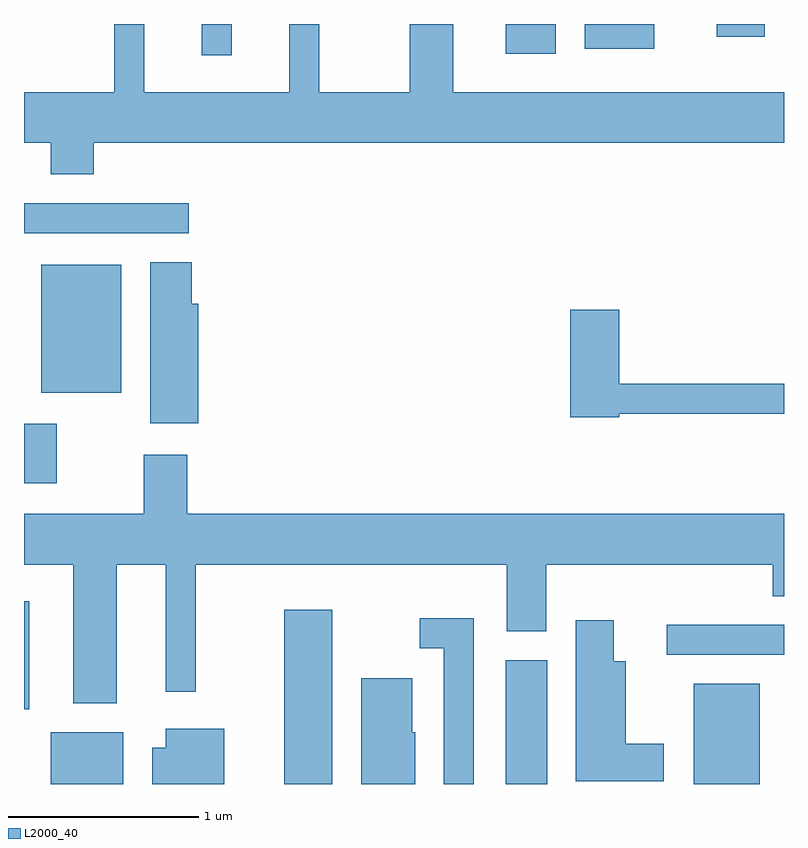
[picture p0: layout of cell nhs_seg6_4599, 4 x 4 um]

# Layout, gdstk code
import gdstk
lib = gdstk.Library(unit=1e-6, precision=1e-09)
def R(c, l, rs):  # rectangles x0, y0, x1, y1
    for r in rs: c.add(gdstk.rectangle(r[:2], r[2:], *l))
def P(c, l, *ps):  # polygons
    for p in ps: c.add(gdstk.Polygon(p, *l))
L2000_40 = (2000, 40)

nhs_seg6_4599 = lib.new_cell('nhs_seg6_4599')
R(nhs_seg6_4599, L2000_40, [(325.751,1602.162,326.134,1602.434), (326.981,1602.162,327.234,1603.079), (328.146,1602.162,328.364,1602.814), (329.136,1602.162,329.484,1602.689), (325.611,1602.556,325.639,1603.124), (328.993,1602.841,329.611,1602.999), (325.611,1603.746,325.784,1604.059), (325.701,1604.221,326.124,1604.894), (325.611,1605.061,326.478,1605.219), (326.546,1605.998,326.704,1606.162), (328.146,1606.006,328.409,1606.162), (328.561,1606.031,328.929,1606.162), (329.256,1606.096,329.509,1606.162)])
P(nhs_seg6_4599, L2000_40, [(325.979,1605.536),(329.611,1605.536),(329.611,1605.804),(327.869,1605.804),(327.869,1606.162),(327.641,1606.162),(327.641,1605.804),(327.164,1605.804),(327.164,1606.162),(327.006,1606.162),(327.006,1605.804),(326.244,1605.804),(326.244,1606.162),(326.086,1606.162),(326.086,1605.804),(325.611,1605.804),(325.611,1605.536),(325.751,1605.536),(325.751,1605.371),(325.979,1605.371)],
  [(326.529,1604.689),(326.494,1604.689),(326.494,1604.909),(326.276,1604.909),(326.276,1604.061),(326.529,1604.061)],
  [(328.744,1604.111),(329.611,1604.111),(329.611,1604.269),(328.744,1604.269),(328.744,1604.659),(328.486,1604.659),(328.486,1604.091),(328.744,1604.091)],
  [(326.099,1603.316),(326.356,1603.316),(326.356,1602.648),(326.514,1602.648),(326.514,1603.316),(328.151,1603.316),(328.151,1602.966),(328.359,1602.966),(328.359,1603.316),(329.551,1603.316),(329.551,1603.151),(329.611,1603.151),(329.611,1603.584),(326.469,1603.584),(326.469,1603.894),(326.241,1603.894),(326.241,1603.584),(325.611,1603.584),(325.611,1603.316),(325.871,1603.316),(325.871,1602.586),(326.099,1602.586)],
  [(327.979,1603.034),(327.693,1603.034),(327.693,1602.876),(327.821,1602.876),(327.821,1602.162),(327.979,1602.162)],
  [(328.979,1602.374),(328.779,1602.374),(328.779,1602.809),(328.714,1602.809),(328.714,1603.024),(328.516,1603.024),(328.516,1602.176),(328.979,1602.176)],
  [(327.669,1602.435),(327.654,1602.435),(327.654,1602.719),(327.386,1602.719),(327.386,1602.162),(327.669,1602.162)],
  [(326.664,1602.454),(326.356,1602.454),(326.356,1602.354),(326.286,1602.354),(326.286,1602.162),(326.664,1602.162)])

lib.write_gds('nhs_seg6_4599.gds')
